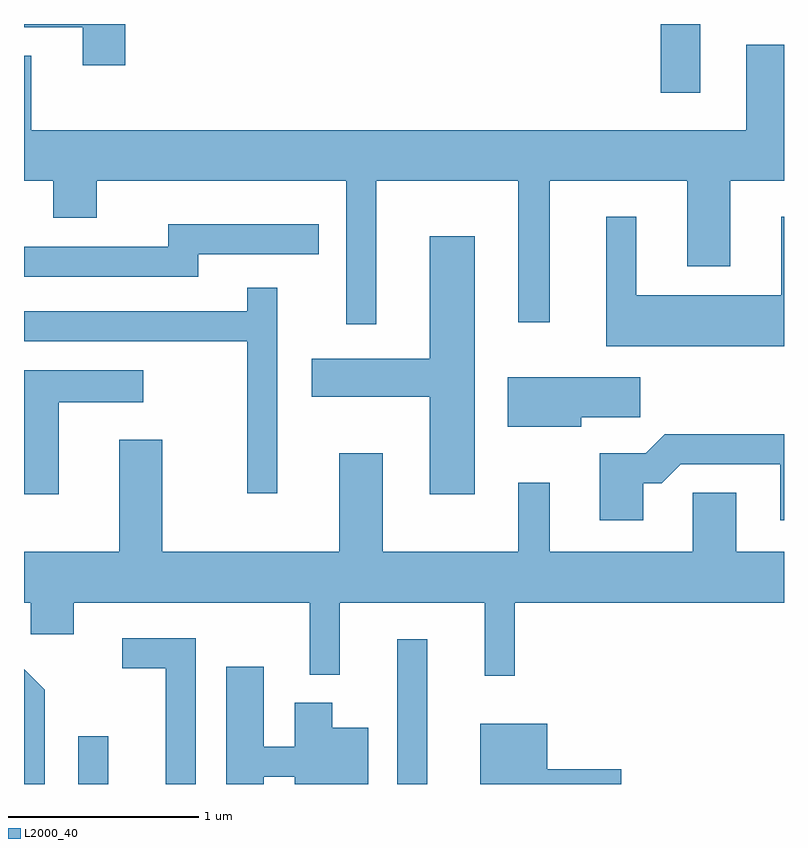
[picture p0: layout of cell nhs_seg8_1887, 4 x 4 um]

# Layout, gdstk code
import gdstk
lib = gdstk.Library(unit=1e-6, precision=1e-09)
def R(c, l, rs):  # rectangles x0, y0, x1, y1
    for r in rs: c.add(gdstk.rectangle(r[:2], r[2:], *l))
def P(c, l, *ps):  # polygons
    for p in ps: c.add(gdstk.Polygon(p, *l))
L2000_40 = (2000, 40)

nhs_seg8_1887 = lib.new_cell('nhs_seg8_1887')
R(nhs_seg8_1887, L2000_40, [(241.896,1844.342,242.054,1844.593), (243.576,1844.342,243.734,1845.103), (244.961,1847.981,245.169,1848.342)])
P(nhs_seg8_1887, L2000_40, [(242.144,1848.342),(241.611,1848.342),(241.611,1848.326),(241.921,1848.326),(241.921,1848.126),(242.144,1848.126)],
  [(243.464,1847.516),(244.211,1847.516),(244.211,1846.773),(244.379,1846.773),(244.379,1847.516),(245.101,1847.516),(245.101,1847.066),(245.329,1847.066),(245.329,1847.516),(245.611,1847.516),(245.611,1848.234),(245.411,1848.234),(245.411,1847.784),(241.649,1847.784),(241.649,1848.174),(241.611,1848.174),(241.611,1847.516),(241.766,1847.516),(241.766,1847.321),(241.994,1847.321),(241.994,1847.516),(243.306,1847.516),(243.306,1846.763),(243.464,1846.763)],
  [(245.611,1847.328),(245.596,1847.328),(245.596,1846.914),(244.834,1846.914),(244.834,1847.328),(244.676,1847.328),(244.676,1846.646),(245.611,1846.646)],
  [(242.529,1847.131),(243.163,1847.131),(243.163,1847.289),(242.371,1847.289),(242.371,1847.169),(241.611,1847.169),(241.611,1847.011),(242.529,1847.011)],
  [(243.984,1847.224),(243.746,1847.224),(243.746,1846.579),(243.126,1846.579),(243.126,1846.381),(243.746,1846.381),(243.746,1845.866),(243.984,1845.866)],
  [(242.944,1846.953),(242.786,1846.953),(242.786,1846.829),(241.611,1846.829),(241.611,1846.671),(242.786,1846.671),(242.786,1845.873),(242.944,1845.873)],
  [(241.794,1846.351),(242.238,1846.351),(242.238,1846.519),(241.611,1846.519),(241.611,1845.866),(241.794,1845.866)],
  [(244.544,1846.271),(244.854,1846.271),(244.854,1846.484),(244.156,1846.484),(244.156,1846.221),(244.544,1846.221)],
  [(244.869,1845.926),(244.967,1845.926),(245.067,1846.026),(245.591,1846.026),(245.591,1845.731),(245.611,1845.731),(245.611,1846.184),(244.984,1846.184),(244.884,1846.084),(244.641,1846.084),(244.641,1845.731),(244.869,1845.731)],
  [(244.194,1845.296),(245.611,1845.296),(245.611,1845.564),(245.359,1845.564),(245.359,1845.874),(245.131,1845.874),(245.131,1845.564),(244.379,1845.564),(244.379,1845.928),(244.211,1845.928),(244.211,1845.564),(243.499,1845.564),(243.499,1846.084),(243.271,1846.084),(243.271,1845.564),(242.339,1845.564),(242.339,1846.154),(242.111,1846.154),(242.111,1845.564),(241.611,1845.564),(241.611,1845.296),(241.646,1845.296),(241.646,1845.131),(241.874,1845.131),(241.874,1845.296),(243.116,1845.296),(243.116,1844.918),(243.274,1844.918),(243.274,1845.296),(244.036,1845.296),(244.036,1844.913),(244.194,1844.913)],
  [(242.514,1845.109),(242.128,1845.109),(242.128,1844.951),(242.356,1844.951),(242.356,1844.342),(242.514,1844.342)],
  [(242.874,1844.381),(243.036,1844.381),(243.036,1844.342),(243.424,1844.342),(243.424,1844.639),(243.234,1844.639),(243.234,1844.769),(243.036,1844.769),(243.036,1844.539),(242.874,1844.539),(242.874,1844.959),(242.676,1844.959),(242.676,1844.342),(242.874,1844.342)],
  [(241.719,1844.837),(241.611,1844.945),(241.611,1844.342),(241.719,1844.342)],
  [(244.754,1844.419),(244.364,1844.419),(244.364,1844.659),(244.011,1844.659),(244.011,1844.342),(244.754,1844.342)])

lib.write_gds('nhs_seg8_1887.gds')
